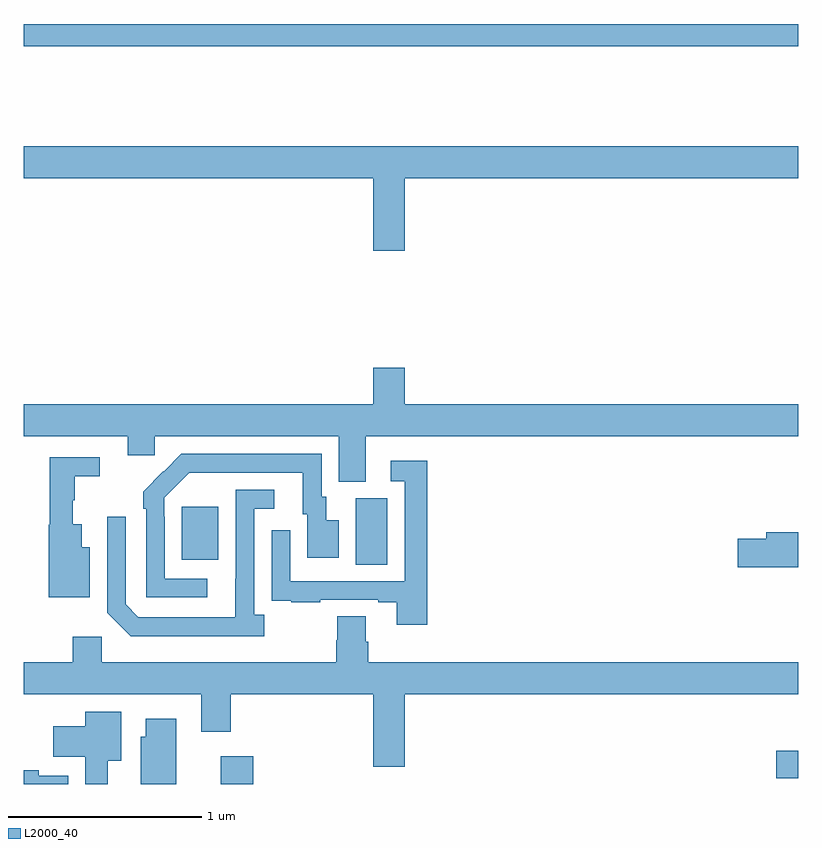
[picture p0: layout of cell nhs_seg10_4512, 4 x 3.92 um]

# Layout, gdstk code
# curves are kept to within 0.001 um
import gdstk
lib = gdstk.Library(unit=1e-6, precision=1e-09)
def R(c, l, rs):  # rectangles x0, y0, x1, y1
    for r in rs: c.add(gdstk.rectangle(r[:2], r[2:], *l))
def P(c, l, *ps):  # polygons
    for p in ps: c.add(gdstk.Polygon(p, *l))
L2000_40 = (2000, 40)

nhs_seg10_4512 = lib.new_cell('nhs_seg10_4512')
R(nhs_seg10_4512, L2000_40, [(368.018,1318.5,368.186,1318.642), (370.887,1318.529,371,1318.671), (368.714,1319.632,368.878,1319.976), (367.817,1319.657,368.005,1319.932), (367,1322.308,371,1322.424)])
P(nhs_seg10_4512, L2000_40, [(368.968,1321.628),(371,1321.628),(371,1321.792),(367,1321.792),(367,1321.628),(368.804,1321.628),(368.804,1321.254),(368.968,1321.254)],
  [(368.767,1320.296),(371,1320.296),(371,1320.46),(368.968,1320.46),(368.968,1320.649),(368.804,1320.649),(368.804,1320.46),(367,1320.46),(367,1320.296),(367.538,1320.296),(367.538,1320.198),(367.677,1320.198),(367.677,1320.296),(368.627,1320.296),(368.627,1320.061),(368.767,1320.061)],
  [(367.948,1319.559),(367.728,1319.559),(367.728,1319.879),(367.725,1319.879),(367.725,1319.979),(367.854,1320.108),(368.441,1320.108),(368.441,1319.892),(368.465,1319.892),(368.465,1319.667),(368.626,1319.667),(368.626,1319.863),(368.563,1319.863),(368.563,1319.982),(368.538,1319.982),(368.538,1320.204),(367.814,1320.204),(367.617,1320.009),(367.617,1319.921),(367.632,1319.921),(367.632,1319.463),(367.948,1319.463)],
  [(367.342,1319.722),(367.3,1319.722),(367.3,1319.842),(367.253,1319.842),(367.253,1319.966),(367.264,1319.966),(367.264,1320.088),(367.393,1320.088),(367.393,1320.186),(367.135,1320.186),(367.135,1319.838),(367.13,1319.838),(367.13,1319.465),(367.342,1319.465)],
  [(369.083,1320.169),(368.895,1320.169),(368.895,1320.063),(368.967,1320.063),(368.967,1319.547),(368.376,1319.547),(368.376,1319.809),(368.28,1319.809),(368.28,1319.554),(368.281,1319.554),(368.281,1319.445),(368.383,1319.445),(368.383,1319.439),(368.531,1319.439),(368.531,1319.451),(368.831,1319.451),(368.831,1319.439),(368.927,1319.439),(368.927,1319.322),(369.083,1319.322)],
  [(368.242,1319.374),(368.19,1319.374),(368.19,1319.922),(368.293,1319.922),(368.293,1320.018),(368.094,1320.018),(368.093,1319.361),(367.593,1319.361),(367.527,1319.427),(367.527,1319.881),(367.431,1319.881),(367.431,1319.385),(367.552,1319.264),(368.242,1319.264)],
  [(371,1319.801),(370.835,1319.801),(370.835,1319.765),(370.686,1319.765),(370.686,1319.618),(371,1319.618)],
  [(368.968,1318.964),(371,1318.964),(371,1319.128),(368.78,1319.128),(368.78,1319.234),(368.767,1319.234),(368.767,1319.366),(368.62,1319.366),(368.62,1319.241),(368.615,1319.241),(368.615,1319.128),(367.404,1319.128),(367.404,1319.26),(367.253,1319.26),(367.253,1319.128),(367,1319.128),(367,1318.964),(367.916,1318.964),(367.916,1318.77),(368.069,1318.77),(368.069,1318.964),(368.804,1318.964),(368.804,1318.59),(368.968,1318.59)],
  [(367.435,1318.619),(367.504,1318.619),(367.504,1318.873),(367.319,1318.873),(367.319,1318.798),(367.152,1318.798),(367.152,1318.64),(367.319,1318.64),(367.319,1318.5),(367.435,1318.5)],
  [(367.789,1318.837),(367.631,1318.837),(367.631,1318.743),(367.604,1318.743),(367.604,1318.5),(367.789,1318.5)],
  [(367.231,1318.543),(367.077,1318.543),(367.077,1318.57),(367,1318.57),(367,1318.5),(367.231,1318.5)])

lib.write_gds('nhs_seg10_4512.gds')
